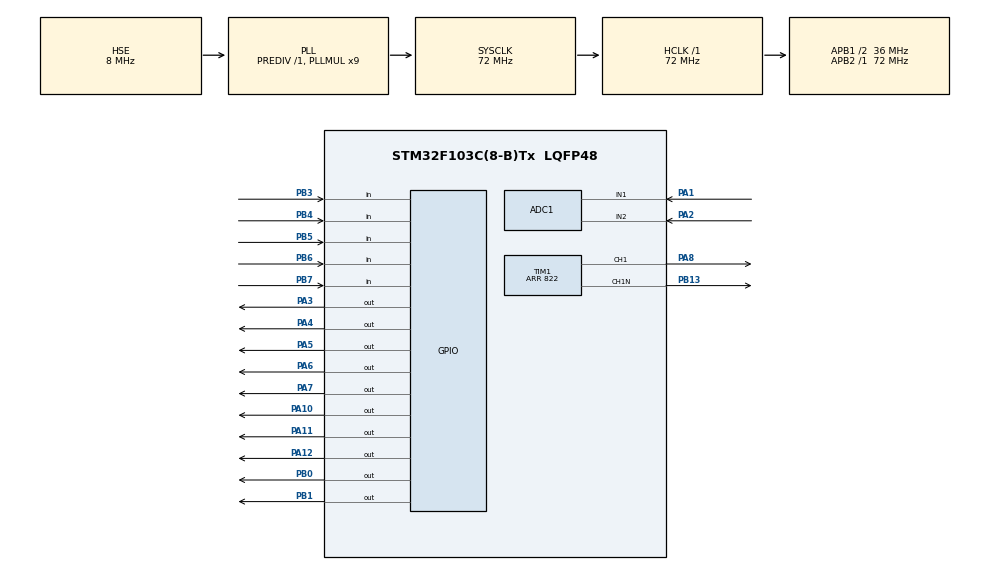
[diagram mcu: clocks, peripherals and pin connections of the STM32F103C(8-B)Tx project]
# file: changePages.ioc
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ADC1.Channel-0\#ChannelRegularConversion=ADC_CHANNEL_1
ADC1.Channel-1\#ChannelRegularConversion=ADC_CHANNEL_2
ADC1.ContinuousConvMode=ENABLE
ADC1.NbrOfConversion=2
ADC1.NbrOfConversionFlag=1
ADC1.Rank-0\#ChannelRegularConversion=1
ADC1.Rank-1\#ChannelRegularConversion=2
ADC1.SamplingTime-0\#ChannelRegularConversion=ADC_SAMPLETIME_13CYCLES_5
ADC1.SamplingTime-1\#ChannelRegularConversion=ADC_SAMPLETIME_13CYCLES_5
ADC1.master=1
Dma.ADC1.0.Direction=DMA_PERIPH_TO_MEMORY
Dma.ADC1.0.Instance=DMA1_Channel1
Dma.ADC1.0.MemDataAlignment=DMA_MDATAALIGN_WORD
Dma.ADC1.0.MemInc=DMA_MINC_ENABLE
Dma.ADC1.0.Mode=DMA_CIRCULAR
Dma.ADC1.0.PeriphDataAlignment=DMA_PDATAALIGN_WORD
Dma.ADC1.0.PeriphInc=DMA_PINC_DISABLE
Dma.ADC1.0.Priority=DMA_PRIORITY_MEDIUM
Dma.Request0=ADC1
Mcu.Family=STM32F1
Mcu.Name=STM32F103C(8-B)Tx
Mcu.Package=LQFP48
NVIC.DMA1_Channel1_IRQn=true\:0\:0\:false\:false\:true\:false\:true\:true
NVIC.PriorityGroup=NVIC_PRIORITYGROUP_4
PA1.Signal=ADCx_IN1
PA10.GPIO_PuPd=GPIO_PULLDOWN
PA10.Signal=GPIO_Output
PA11.GPIO_PuPd=GPIO_PULLDOWN
PA11.Signal=GPIO_Output
PA12.GPIO_PuPd=GPIO_PULLDOWN
PA12.Signal=GPIO_Output
PA13.Mode=Serial_Wire
PA13.Signal=SYS_JTMS-SWDIO
PA14.Mode=Serial_Wire
PA14.Signal=SYS_JTCK-SWCLK
PA2.Signal=ADCx_IN2
PA3.Signal=GPIO_Output
PA4.Signal=GPIO_Output
PA5.Signal=GPIO_Output
PA6.GPIO_PuPd=GPIO_NOPULL
PA6.Signal=GPIO_Output
PA7.Signal=GPIO_Output
PA8.Signal=S_TIM1_CH1
PB0.Signal=GPIO_Output
PB1.Signal=GPIO_Output
PB13.Mode=PWM Generation1 CH1 CH1N
PB13.Signal=TIM1_CH1N
PB3.GPIO_PuPd=GPIO_PULLDOWN
PB3.Signal=GPIO_Input
PB4.GPIO_PuPd=GPIO_PULLDOWN
PB4.Signal=GPIO_Input
PB5.GPIO_PuPd=GPIO_PULLDOWN
PB5.Signal=GPIO_Input
PB6.GPIO_PuPd=GPIO_PULLDOWN
PB6.Signal=GPIO_Input
PB7.Signal=GPIO_Input
PD0-OSC_IN.Mode=HSE-External-Oscillator
PD0-OSC_IN.Signal=RCC_OSC_IN
PD1-OSC_OUT.Mode=HSE-External-Oscillator
PD1-OSC_OUT.Signal=RCC_OSC_OUT
ProjectManager.HeapSize=0x200
ProjectManager.StackSize=0x400
ProjectManager.TargetToolchain=MDK-ARM V5.32
RCC.ADCPresc=RCC_ADCPCLK2_DIV6
RCC.AHBFreq_Value=72000000
RCC.APB1CLKDivider=RCC_HCLK_DIV2
RCC.APB1Freq_Value=36000000
RCC.APB1TimFreq_Value=72000000
RCC.APB2Freq_Value=72000000
RCC.APB2TimFreq_Value=72000000
RCC.HCLKFreq_Value=72000000
RCC.PLLMUL=RCC_PLL_MUL9
RCC.PLLSourceVirtual=RCC_PLLSOURCE_HSE
RCC.SYSCLKFreq_VALUE=72000000
RCC.SYSCLKSource=RCC_SYSCLKSOURCE_PLLCLK
RCC.USBFreq_Value=72000000
SH.ADCx_IN1.0=ADC1_IN1,IN1
SH.ADCx_IN2.0=ADC1_IN2,IN2
SH.S_TIM1_CH1.0=TIM1_CH1,PWM Generation1 CH1 CH1N
TIM1.Channel-PWM\ Generation1\ CH1\ CH1N=TIM_CHANNEL_1
TIM1.DeadTime=32
TIM1.Period=822
TIM1.Pulse-PWM\ Generation1\ CH1\ CH1N=411
TIM2.Period=0xffff-1
TIM2.Prescaler=71
VP_TIM2_VS_ClockSourceINT.Mode=Internal
board=custom

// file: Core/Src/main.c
/* USER CODE BEGIN Header */
/**
  ******************************************************************************
  * @file           : main.c
  * @brief          : Main program body
  ******************************************************************************
  * @attention
  *
  * Copyright (c) 2024 STMicroelectronics.
  * All rights reserved.
  *
  * This software is licensed under terms that can be found in the LICENSE file
  * in the root directory of this software component.
  * If no LICENSE file comes with this software, it is provided AS-IS.
  *
  ******************************************************************************
  */
/* USER CODE END Header */
#include "main.h"

/* USER CODE BEGIN Includes */
#define TOTAL_PAGES 6 //sayfa sayisi
#include "LCD1602.h"
#include "stdio.h"
void startButton(void);
void menuControl(void);//menulerde gezinme, kp ve ki, degerlerini azaltma
void pageProcess(int page);
void pageName(int numberPage);

char yazi[16]=" ";
char vol[16]=" ";
char fre[16]=" ";
char cur[16]=" ";
char cKI[16]=" ";
char cKP[16]=" ";
int changePage = 0;
uint32_t data[2];
uint32_t adcBuffer[2];
int period,frekans;
float integral=0;
float pOutput,iOutput,output;
float integralSinirlama;
long oncekiZaman,simdikiZaman;
double time;//gecen zaman
float kp=1;
float ki=0.1;
double error;

/* USER CODE END Includes */

ADC_HandleTypeDef hadc1;
DMA_HandleTypeDef hdma_adc1;

TIM_HandleTypeDef htim1;
TIM_HandleTypeDef htim2;

void SystemClock_Config(void);
static void MX_GPIO_Init(void);
static void MX_DMA_Init(void);
static void MX_TIM2_Init(void);
static void MX_TIM1_Init(void);
static void MX_ADC1_Init(void);

/* USER CODE BEGIN 0 */

void HAL_ADC_ConvCpltCallback(ADC_HandleTypeDef* hadc){
	if(hadc->Instance==ADC1){
		data[0]=adcBuffer[0];
		data[1]=adcBuffer[1];

	}

}

void controlADC(){

	while(1){
		lcd_put_cur(0,0);
		sprintf(vol,"Voltage= %d " ,(data[0]*100)/4096);
		lcd_send_string(vol);
		lcd_put_cur(1,0);
		sprintf(cur,"Current= %d " ,(data[1]*5)/4096);
		lcd_send_string(cur);
		if(data[0]>2400){
			lcd_put_cur(0,0);
			lcd_send_string("Hedef Aralikta  ");
			lcd_put_cur(1,0);
			lcd_send_string("Menu gecis");
			HAL_Delay(2500);
			break;

		}

	}

}

void setPWMFrequency(float frequency){
	__HAL_TIM_SET_AUTORELOAD(&htim1,(frekans/frequency)-1);

}
double PIControl(){
	simdikiZaman=HAL_GetTick()/1000;
	time=simdikiZaman-oncekiZaman;
	float error = frekans;//-olculen frekans
	integral+=error*time;

  pOutput = kp*error;
  iOutput += error*time;
  // Toplam çikis
  output = pOutput + iOutput;
	oncekiZaman=simdikiZaman;
	return output;

}

void pageName(int numberPage){
	if(changePage==0){
		lcd_clear();
		lcd_put_cur(0,0);
		lcd_send_string("Frekans okuma");
		lcd_put_cur(1,0);
		lcd_send_string("Akim okuma");
	}else if(changePage==1){
		lcd_clear();
		lcd_put_cur(0,0);
		lcd_send_string("I Ayari");
	}else if(changePage==2){
		lcd_clear();
		lcd_put_cur(0,0);
		lcd_send_string("P Ayari");

	}else if(changePage==3){
		lcd_clear();
		lcd_put_cur(0,0);
		lcd_send_string("Sistem Baslatma");

	}else if(changePage==4){
		lcd_clear();
		lcd_put_cur(0,0);
		lcd_send_string("Sistem Durdurma");

	}else if(changePage==5){
		lcd_clear();
		lcd_put_cur(0,0);
		lcd_send_string("Adc Okuma");

	}

}

void pageProcess(int page){
	switch(page){

		case 0:
				lcd_clear();

				while(1){
					lcd_put_cur(0,0);
					frekans=72000000/TIM1->ARR;
					sprintf(fre,"Frekans= %d",frekans);
					lcd_send_string(fre);
					lcd_put_cur(1,0);
					sprintf(cur,"Akim= %d " ,(data[1]*5)/4096);
					lcd_send_string(cur);
					if(HAL_GPIO_ReadPin(GPIOB,GPIO_PIN_6)==1){
							lcd_clear();
							lcd_put_cur(0,0);
							lcd_send_string("Cikis yapildi");
							menuControl();

					}

				}
			break;
		case 1:
			//KI ayari
				lcd_clear();
				lcd_put_cur(0,0);
				sprintf(cKI,"KI= %f " ,ki);
				lcd_send_string(cKI);

				while(1){
					if(HAL_GPIO_ReadPin(GPIOB,GPIO_PIN_3)==1){
						ki+=0.1;
						lcd_put_cur(0,0);
						sprintf(cKI,"KI= %f " ,ki);
						lcd_send_string(cKI);

					}else if(HAL_GPIO_ReadPin(GPIOB,GPIO_PIN_4)==1){
						ki-=0.1;
						lcd_put_cur(0,0);
						sprintf(cKI,"KI= %f " ,ki);
						lcd_send_string(cKI);

					}
					if(HAL_GPIO_ReadPin(GPIOB,GPIO_PIN_6)==1){

						lcd_clear();
						lcd_put_cur(0,0);
						lcd_send_string("Cikis yapildi");
						menuControl();

					}

					HAL_Delay(100);

				}
			break;
		case 2:
			//KP ayari
				lcd_clear();
				lcd_put_cur(0,0);
				sprintf(cKP,"KP= %f " ,kp);
				lcd_send_string(cKP);

				while(1){
					if(HAL_GPIO_ReadPin(GPIOB,GPIO_PIN_3)==1){
						kp+=0.1;
						lcd_put_cur(0,0);
						sprintf(cKP,"KP= %f " ,kp);
						lcd_send_string(cKP);

					}else if(HAL_GPIO_ReadPin(GPIOB,GPIO_PIN_4)==1){
						kp-=0.1;
						lcd_put_cur(0,0);
						sprintf(cKP,"KI= %f " ,kp);
						lcd_send_string(cKP);

					}
					if(HAL_GPIO_ReadPin(GPIOB,GPIO_PIN_6)==1){

						lcd_clear();
						lcd_put_cur(0,0);
						lcd_send_string("Cikis yapildi");
						menuControl();

					}

					HAL_Delay(100);

				}

			break;
		case 3:
				lcd_clear();
				lcd_put_cur(0,0);
				lcd_send_string("Baslatiliyor");
				HAL_Delay(2000);
				lcd_put_cur(0,0);
				lcd_send_string("Giris Voltage");
				HAL_GPIO_WritePin(GPIOA,GPIO_PIN_10,1);
				HAL_Delay(5000);
				lcd_clear();
				lcd_put_cur(0,0);
				lcd_send_string("Cikis gnd");
				HAL_GPIO_WritePin(GPIOA,GPIO_PIN_11,1);
				HAL_Delay(5000);
				lcd_clear();
				lcd_put_cur(0,0);
				lcd_send_string("Cikis Voltage");
				HAL_GPIO_WritePin(GPIOA,GPIO_PIN_12,1);
				HAL_Delay(5000);
				lcd_clear();
				lcd_put_cur(0,0);
				lcd_send_string("Frekans");
				lcd_put_cur(1,0);
				lcd_send_string("Baslatildi");
				HAL_TIM_PWM_Start(&htim1,TIM_CHANNEL_1);
				HAL_TIMEx_PWMN_Start(&htim1,TIM_CHANNEL_1);
				HAL_Delay(2000);
				lcd_clear();

				lcd_send_string("Menuye gecildi");

				menuControl();
			break;
		case 4:

				lcd_clear();
				lcd_put_cur(0,0);
				lcd_send_string("Durduruluyor");
				HAL_Delay(2000);
				lcd_clear();
				lcd_send_string("Frekans");
				lcd_put_cur(1,0);
				lcd_send_string("Durduruluyor");
				HAL_TIM_PWM_Stop(&htim1,TIM_CHANNEL_1);
				HAL_TIMEx_PWMN_Stop(&htim1,TIM_CHANNEL_1);
				HAL_Delay(5000);
				lcd_clear();
				lcd_put_cur(0,0);
				lcd_send_string("Giris Voltage");
				lcd_put_cur(1,0);
				lcd_send_string("Cikis Voltage");
				HAL_GPIO_WritePin(GPIOA,GPIO_PIN_12,0);
				HAL_GPIO_WritePin(GPIOA,GPIO_PIN_10,0);
				HAL_Delay(5000);
				lcd_clear();
				lcd_put_cur(0,0);
				lcd_send_string("Cikis gnd");
				HAL_GPIO_WritePin(GPIOA,GPIO_PIN_11,0);
				HAL_Delay(2000);
				lcd_clear();
				lcd_put_cur(0,0);
				lcd_send_string("Devre Kapatildi");
				HAL_Delay(2000);
				lcd_clear();
				while(1){
					lcd_put_cur(0,0);
					sprintf(vol,"Voltage= %d " ,(data[0]*100)/4096);
					lcd_send_string(vol);
					lcd_put_cur(1,0);
					sprintf(cur,"Current= %d " ,(data[1]*5)/4096);
					lcd_send_string(cur);
					if(HAL_GPIO_ReadPin(GPIOB,GPIO_PIN_6)==1){
							lcd_clear();
							lcd_put_cur(0,0);
							lcd_send_string("Cikis yapildi");
							menuControl();

					}
				}

			break;
		case 5:
				lcd_clear();
				while(1){
					lcd_put_cur(0,0);
					sprintf(vol,"Voltage= %d " ,(data[0]*100)/4096);
					lcd_send_string(vol);
					lcd_put_cur(1,0);
					sprintf(cur,"Current= %d " ,(data[1]*5)/4096);
					lcd_send_string(cur);
					if(HAL_GPIO_ReadPin(GPIOB,GPIO_PIN_6)==1){
							lcd_clear();
							lcd_put_cur(0,0);
							lcd_send_string("Cikis yapildi");
							menuControl();

					}
				}
		break;

		default:
			lcd_clear();
			lcd_put_cur(0,0);
			lcd_send_string("Sayfa Hatasi");

	}

		while(1){

			if(HAL_GPIO_ReadPin(GPIOB,GPIO_PIN_6)==1){
				lcd_clear();
				lcd_put_cur(0,0);
				lcd_send_string("Cikis yapildi");
				menuControl();
		}

	}

}

void menuControl(void){
	while(1){
		if(HAL_GPIO_ReadPin(GPIOB,GPIO_PIN_3)==1){
			changePage = (changePage + 1) % TOTAL_PAGES;
			pageName(changePage);
			HAL_Delay(100);

		}else if(HAL_GPIO_ReadPin(GPIOB,GPIO_PIN_4)==1){

			if (changePage == 0) {
				changePage = TOTAL_PAGES - 1;
				pageName(changePage);
			}else{
				changePage = changePage - 1;
				pageName(changePage);

			}
			HAL_Delay(100);

		}else if(HAL_GPIO_ReadPin(GPIOB,GPIO_PIN_5)==1){

				pageProcess(changePage);

		}

	}

}

/* USER CODE END 0 */

int main(void)
{

  /* MCU Configuration--------------------------------------------------------*/

  /* Reset of all peripherals, Initializes the Flash interface and the Systick. */
  HAL_Init();

  /* Configure the system clock */
  SystemClock_Config();

  /* Initialize all configured peripherals */
  MX_GPIO_Init();
  MX_DMA_Init();
  MX_TIM2_Init();
  MX_TIM1_Init();
  MX_ADC1_Init();
  /* USER CODE BEGIN 2 */
	HAL_TIM_Base_Start(&htim2);

	period=TIM1->ARR;
	frekans=72000000/TIM1->ARR;
	HAL_ADC_Start_DMA(&hadc1,adcBuffer,2);

	lcd_init();
	lcd_put_cur(0,0);
	lcd_send_string("Merhaba");
	HAL_Delay(1500);
	lcd_clear();

	lcd_put_cur(0,0);
	lcd_send_string("Sistem Kontrol");
	lcd_put_cur(1,0);
	lcd_send_string("Ediliyor");
	HAL_Delay(5000);
	lcd_clear();

	controlADC();
	menuControl();

  /* USER CODE END 2 */

  /* Infinite loop */
  while (1)
  {

  }
}

void SystemClock_Config(void)
{
  RCC_OscInitTypeDef RCC_OscInitStruct = {0};
  RCC_ClkInitTypeDef RCC_ClkInitStruct = {0};
  RCC_PeriphCLKInitTypeDef PeriphClkInit = {0};

  /** Initializes the RCC Oscillators according to the specified parameters
  * in the RCC_OscInitTypeDef structure.
  */
  RCC_OscInitStruct.OscillatorType = RCC_OSCILLATORTYPE_HSE;
  RCC_OscInitStruct.HSEState = RCC_HSE_ON;
  RCC_OscInitStruct.HSEPredivValue = RCC_HSE_PREDIV_DIV1;
  RCC_OscInitStruct.HSIState = RCC_HSI_ON;
  RCC_OscInitStruct.PLL.PLLState = RCC_PLL_ON;
  RCC_OscInitStruct.PLL.PLLSource = RCC_PLLSOURCE_HSE;
  RCC_OscInitStruct.PLL.PLLMUL = RCC_PLL_MUL9;
  if (HAL_RCC_OscConfig(&RCC_OscInitStruct) != HAL_OK)
  {
    Error_Handler();
  }

  /** Initializes the CPU, AHB and APB buses clocks
  */
  RCC_ClkInitStruct.ClockType = RCC_CLOCKTYPE_HCLK|RCC_CLOCKTYPE_SYSCLK
                              |RCC_CLOCKTYPE_PCLK1|RCC_CLOCKTYPE_PCLK2;
  RCC_ClkInitStruct.SYSCLKSource = RCC_SYSCLKSOURCE_PLLCLK;
  RCC_ClkInitStruct.AHBCLKDivider = RCC_SYSCLK_DIV1;
  RCC_ClkInitStruct.APB1CLKDivider = RCC_HCLK_DIV2;
  RCC_ClkInitStruct.APB2CLKDivider = RCC_HCLK_DIV1;

  if (HAL_RCC_ClockConfig(&RCC_ClkInitStruct, FLASH_LATENCY_2) != HAL_OK)
  {
    Error_Handler();
  }
  PeriphClkInit.PeriphClockSelection = RCC_PERIPHCLK_ADC;
  PeriphClkInit.AdcClockSelection = RCC_ADCPCLK2_DIV6;
  if (HAL_RCCEx_PeriphCLKConfig(&PeriphClkInit) != HAL_OK)
  {
    Error_Handler();
  }
}

static void MX_ADC1_Init(void)
{

  ADC_ChannelConfTypeDef sConfig = {0};

  /** Common config
  */
  hadc1.Instance = ADC1;
  hadc1.Init.ScanConvMode = ADC_SCAN_ENABLE;
  hadc1.Init.ContinuousConvMode = ENABLE;
  hadc1.Init.DiscontinuousConvMode = DISABLE;
  hadc1.Init.ExternalTrigConv = ADC_SOFTWARE_START;
  hadc1.Init.DataAlign = ADC_DATAALIGN_RIGHT;
  hadc1.Init.NbrOfConversion = 2;
  if (HAL_ADC_Init(&hadc1) != HAL_OK)
  {
    Error_Handler();
  }

  /** Configure Regular Channel
  */
  sConfig.Channel = ADC_CHANNEL_1;
  sConfig.Rank = ADC_REGULAR_RANK_1;
  sConfig.SamplingTime = ADC_SAMPLETIME_13CYCLES_5;
  if (HAL_ADC_ConfigChannel(&hadc1, &sConfig) != HAL_OK)
  {
    Error_Handler();
  }

  /** Configure Regular Channel
  */
  sConfig.Channel = ADC_CHANNEL_2;
  sConfig.Rank = ADC_REGULAR_RANK_2;
  if (HAL_ADC_ConfigChannel(&hadc1, &sConfig) != HAL_OK)
  {
    Error_Handler();
  }

}

static void MX_TIM1_Init(void)
{

  TIM_MasterConfigTypeDef sMasterConfig = {0};
  TIM_OC_InitTypeDef sConfigOC = {0};
  TIM_BreakDeadTimeConfigTypeDef sBreakDeadTimeConfig = {0};

  htim1.Instance = TIM1;
  htim1.Init.Prescaler = 0;
  htim1.Init.CounterMode = TIM_COUNTERMODE_UP;
  htim1.Init.Period = 822;
  htim1.Init.ClockDivision = TIM_CLOCKDIVISION_DIV1;
  htim1.Init.RepetitionCounter = 0;
  htim1.Init.AutoReloadPreload = TIM_AUTORELOAD_PRELOAD_DISABLE;
  if (HAL_TIM_PWM_Init(&htim1) != HAL_OK)
  {
    Error_Handler();
  }
  sMasterConfig.MasterOutputTrigger = TIM_TRGO_RESET;
  sMasterConfig.MasterSlaveMode = TIM_MASTERSLAVEMODE_DISABLE;
  if (HAL_TIMEx_MasterConfigSynchronization(&htim1, &sMasterConfig) != HAL_OK)
  {
    Error_Handler();
  }
  sConfigOC.OCMode = TIM_OCMODE_PWM1;
  sConfigOC.Pulse = 411;
  sConfigOC.OCPolarity = TIM_OCPOLARITY_HIGH;
  sConfigOC.OCNPolarity = TIM_OCNPOLARITY_HIGH;
  sConfigOC.OCFastMode = TIM_OCFAST_DISABLE;
  sConfigOC.OCIdleState = TIM_OCIDLESTATE_RESET;
  sConfigOC.OCNIdleState = TIM_OCNIDLESTATE_RESET;
  if (HAL_TIM_PWM_ConfigChannel(&htim1, &sConfigOC, TIM_CHANNEL_1) != HAL_OK)
  {
    Error_Handler();
  }
  sBreakDeadTimeConfig.OffStateRunMode = TIM_OSSR_DISABLE;
  sBreakDeadTimeConfig.OffStateIDLEMode = TIM_OSSI_DISABLE;
  sBreakDeadTimeConfig.LockLevel = TIM_LOCKLEVEL_OFF;
  sBreakDeadTimeConfig.DeadTime = 32;
  sBreakDeadTimeConfig.BreakState = TIM_BREAK_DISABLE;
  sBreakDeadTimeConfig.BreakPolarity = TIM_BREAKPOLARITY_HIGH;
  sBreakDeadTimeConfig.AutomaticOutput = TIM_AUTOMATICOUTPUT_DISABLE;
  if (HAL_TIMEx_ConfigBreakDeadTime(&htim1, &sBreakDeadTimeConfig) != HAL_OK)
  {
    Error_Handler();
  }
  HAL_TIM_MspPostInit(&htim1);

}

static void MX_TIM2_Init(void)
{

  TIM_ClockConfigTypeDef sClockSourceConfig = {0};
  TIM_MasterConfigTypeDef sMasterConfig = {0};

  htim2.Instance = TIM2;
  htim2.Init.Prescaler = 71;
  htim2.Init.CounterMode = TIM_COUNTERMODE_UP;
  htim2.Init.Period = 0xffff-1;
  htim2.Init.ClockDivision = TIM_CLOCKDIVISION_DIV1;
  htim2.Init.AutoReloadPreload = TIM_AUTORELOAD_PRELOAD_DISABLE;
  if (HAL_TIM_Base_Init(&htim2) != HAL_OK)
  {
    Error_Handler();
  }
  sClockSourceConfig.ClockSource = TIM_CLOCKSOURCE_INTERNAL;
  if (HAL_TIM_ConfigClockSource(&htim2, &sClockSourceConfig) != HAL_OK)
  {
    Error_Handler();
  }
  sMasterConfig.MasterOutputTrigger = TIM_TRGO_RESET;
  sMasterConfig.MasterSlaveMode = TIM_MASTERSLAVEMODE_DISABLE;
  if (HAL_TIMEx_MasterConfigSynchronization(&htim2, &sMasterConfig) != HAL_OK)
  {
    Error_Handler();
  }

}

static void MX_DMA_Init(void)
{

  /* DMA controller clock enable */
  __HAL_RCC_DMA1_CLK_ENABLE();

  /* DMA interrupt init */
  /* DMA1_Channel1_IRQn interrupt configuration */
  HAL_NVIC_SetPriority(DMA1_Channel1_IRQn, 0, 0);
  HAL_NVIC_EnableIRQ(DMA1_Channel1_IRQn);

}

static void MX_GPIO_Init(void)
{
  GPIO_InitTypeDef GPIO_InitStruct = {0};

  /* GPIO Ports Clock Enable */
  __HAL_RCC_GPIOD_CLK_ENABLE();
  __HAL_RCC_GPIOA_CLK_ENABLE();
  __HAL_RCC_GPIOB_CLK_ENABLE();

  /*Configure GPIO pin Output Level */
  HAL_GPIO_WritePin(GPIOA, GPIO_PIN_3|GPIO_PIN_4|GPIO_PIN_5|GPIO_PIN_6
                          |GPIO_PIN_7|GPIO_PIN_10|GPIO_PIN_11|GPIO_PIN_12, GPIO_PIN_RESET);

  /*Configure GPIO pin Output Level */
  HAL_GPIO_WritePin(GPIOB, GPIO_PIN_0|GPIO_PIN_1, GPIO_PIN_RESET);

  /*Configure GPIO pins : PA3 PA4 PA5 PA6
                           PA7 */
  GPIO_InitStruct.Pin = GPIO_PIN_3|GPIO_PIN_4|GPIO_PIN_5|GPIO_PIN_6
                          |GPIO_PIN_7;
  GPIO_InitStruct.Mode = GPIO_MODE_OUTPUT_PP;
  GPIO_InitStruct.Pull = GPIO_NOPULL;
  GPIO_InitStruct.Speed = GPIO_SPEED_FREQ_LOW;
  HAL_GPIO_Init(GPIOA, &GPIO_InitStruct);

  /*Configure GPIO pins : PB0 PB1 */
  GPIO_InitStruct.Pin = GPIO_PIN_0|GPIO_PIN_1;
  GPIO_InitStruct.Mode = GPIO_MODE_OUTPUT_PP;
  GPIO_InitStruct.Pull = GPIO_NOPULL;
  GPIO_InitStruct.Speed = GPIO_SPEED_FREQ_LOW;
  HAL_GPIO_Init(GPIOB, &GPIO_InitStruct);

  /*Configure GPIO pins : PA10 PA11 PA12 */
  GPIO_InitStruct.Pin = GPIO_PIN_10|GPIO_PIN_11|GPIO_PIN_12;
  GPIO_InitStruct.Mode = GPIO_MODE_OUTPUT_PP;
  GPIO_InitStruct.Pull = GPIO_PULLDOWN;
  GPIO_InitStruct.Speed = GPIO_SPEED_FREQ_LOW;
  HAL_GPIO_Init(GPIOA, &GPIO_InitStruct);

  /*Configure GPIO pins : PB3 PB4 PB5 PB6 */
  GPIO_InitStruct.Pin = GPIO_PIN_3|GPIO_PIN_4|GPIO_PIN_5|GPIO_PIN_6;
  GPIO_InitStruct.Mode = GPIO_MODE_INPUT;
  GPIO_InitStruct.Pull = GPIO_PULLDOWN;
  HAL_GPIO_Init(GPIOB, &GPIO_InitStruct);

  /*Configure GPIO pin : PB7 */
  GPIO_InitStruct.Pin = GPIO_PIN_7;
  GPIO_InitStruct.Mode = GPIO_MODE_INPUT;
  GPIO_InitStruct.Pull = GPIO_NOPULL;
  HAL_GPIO_Init(GPIOB, &GPIO_InitStruct);

}

void Error_Handler(void)
{
  __disable_irq();
  while (1)
  {
  }
}
